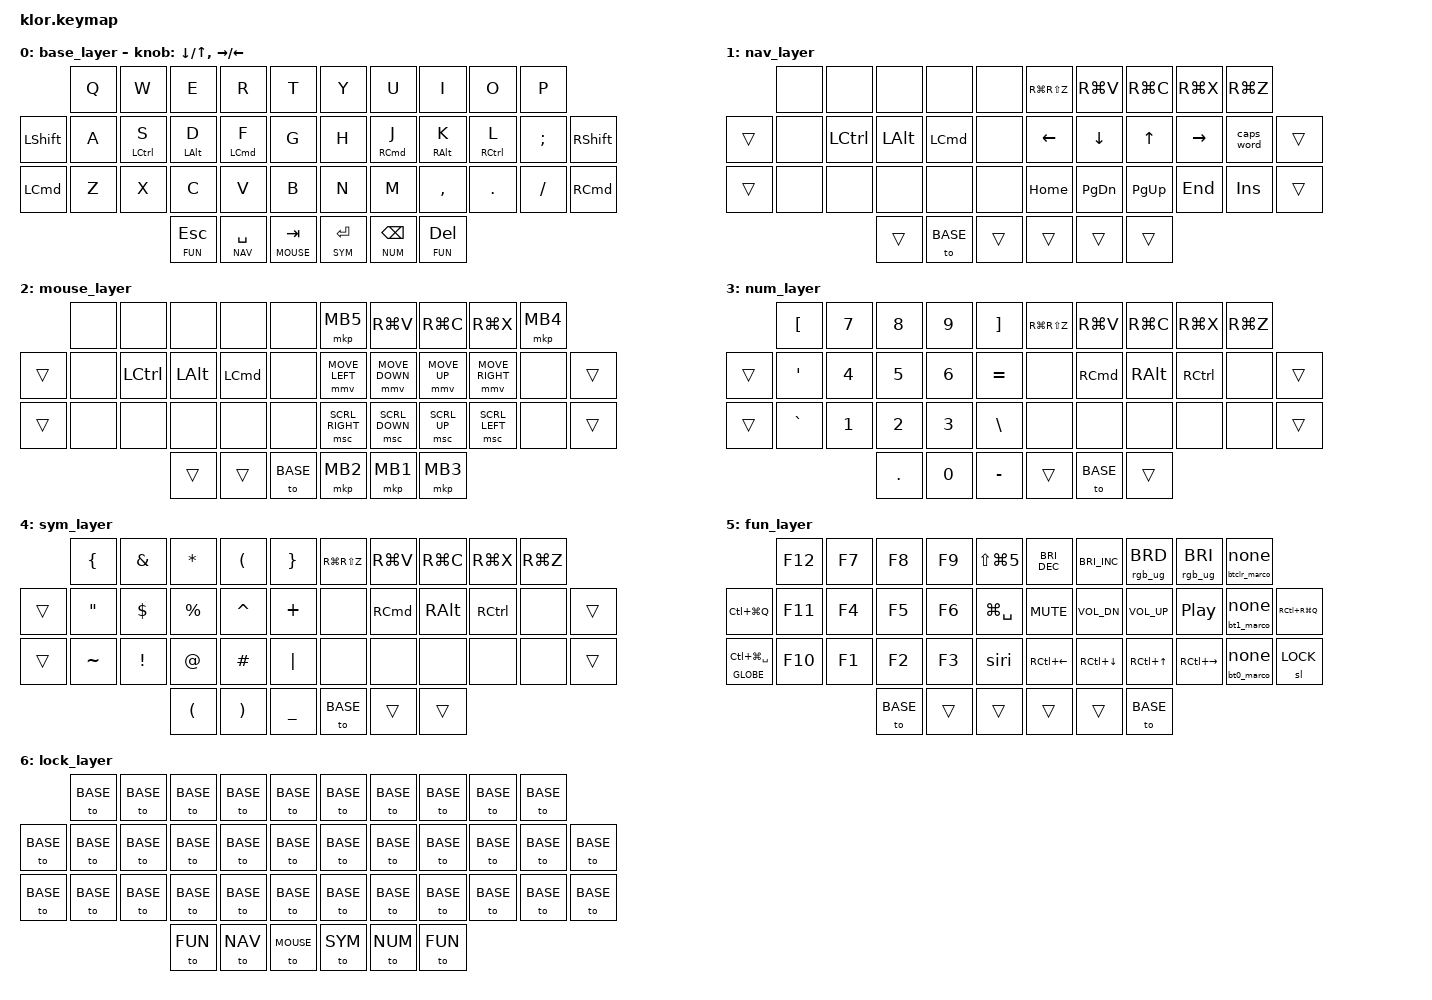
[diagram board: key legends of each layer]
#include <behaviors.dtsi>
#include <dt-bindings/zmk/keys.h>
#include <dt-bindings/zmk/rgb.h>
#include <dt-bindings/zmk/bt.h>
#include <dt-bindings/zmk/pointing.h>
#include "klor-key-labels.h"

#define BASE  0
#define NAV   1
#define MOUSE 2
#define NUM   3
#define SYM   4
#define FUN   5
#define LOCK  6

/ {
    behaviors {
        hml: home_row_mod_left {
            compatible = "zmk,behavior-hold-tap";
            #binding-cells = <2>;
            flavor = "balanced";
            require-prior-idle-ms = <150>;
            tapping-term-ms = <280>;
            quick-tap-ms = <175>;
            bindings = <&kp>, <&kp>;
            hold-trigger-key-positions = <KEYS_R THUMBS>;
            hold-trigger-on-release;
        };
        hmr: home_row_mod_right {
            compatible = "zmk,behavior-hold-tap";
            #binding-cells = <2>;
            flavor = "balanced";
            require-prior-idle-ms = <150>;
            tapping-term-ms = <280>;
            quick-tap-ms = <175>;
            bindings = <&kp>, <&kp>;
            hold-trigger-key-positions = <KEYS_L THUMBS>;
            hold-trigger-on-release;
        };
        btclrhold: bluetooth_clear_on_hold {
            compatible = "zmk,behavior-hold-tap";
            #binding-cells = <2>;
            tapping_term_ms = <1000>;
            flavor = "tap-preferred";
            bindings = <&btclr_marco>, <&none>;
        };
        bt0hold: bluetooth_profile_0_on_hold {
            compatible = "zmk,behavior-hold-tap";
            #binding-cells = <2>;
            tapping_term_ms = <1000>;
            flavor = "tap-preferred";
            bindings = <&bt0_marco>, <&none>;
        };
        bt1hold: bluetooth_profile_1_on_hold {
            compatible = "zmk,behavior-hold-tap";
            #binding-cells = <2>;
            tapping_term_ms = <1000>;
            flavor = "tap-preferred";
            bindings = <&bt1_marco>, <&none>;
        };
    };

    macros {
        siri: activate_siri {
            compatible = "zmk,behavior-macro";
            tap-ms = <1000>;
            #binding-cells = <0>;
            bindings = <&kp LG(SPACE)>;
        };
        btclr_marco: bluetooth_clear_marco {
            compatible = "zmk,behavior-macro";
            #binding-cells = <0>;
            bindings = <&bt BT_CLR_ALL>;
        };
        bt0_marco: bluetooth_profile_0_marco {
            compatible = "zmk,behavior-macro";
            #binding-cells = <0>;
            bindings = <&bt BT_SEL 0>;
        };
        bt1_marco: bluetooth_profile_1_marco {
            compatible = "zmk,behavior-macro";
            #binding-cells = <0>;
            bindings = <&bt BT_SEL 1>;
        };
    };

    keymap {
        compatible = "zmk,keymap";

        base_layer {
            bindings = <
//           ┌─────────┬─────────┬─────────┬─────────┬─────────┐    ┌─────────┬─────────┬─────────┬─────────┬─────────┐
              &kp Q     &kp W     &kp E     &kp R     &kp T          &kp Y     &kp U     &kp I     &kp O     &kp P
// ┌─────────┼─────────┼─────────┼─────────┼─────────┼─────────┤    ├─────────┼─────────┼─────────┼─────────┼─────────┼─────────┐
    &kp LSHFT &kp A &hml LCTRL S &hml LALT D &hml LCMD F &kp G    &kp H &hmr RCMD J &hmr RALT K &hmr RCTRL L &kp SEMI  &kp RSHFT
// ├─────────┼─────────┼─────────┼─────────┼─────────┼─────────┤    ├─────────┼─────────┼─────────┼─────────┼─────────┼─────────┤
    &kp LCMD  &kp Z     &kp X     &kp C     &kp V     &kp B          &kp N     &kp M     &kp COMMA &kp DOT   &kp FSLH  &kp RCMD
// └─────────┴─────────┴─────────┼─────────┼─────────┼─────────┤    ├─────────┼─────────┼─────────┼─────────┴─────────┴─────────┘
                        &lt FUN ESC &lt NAV SPACE &lt MOUSE TAB      &lt SYM RET &lt NUM BSPC &lt FUN DEL
//                               └─────────┴─────────┴─────────┘    └─────────┴─────────┴─────────┘
            >;

            sensor-bindings = <&inc_dec_kp DOWN UP &inc_dec_kp RIGHT LEFT>;
        };

        nav_layer {
            bindings = <
//           ┌─────────┬─────────┬─────────┬─────────┬─────────┐    ┌─────────┬─────────┬─────────┬─────────┬─────────┐
              &none     &none     &none     &none     &none      &kp RG(RS(Z)) &kp RG(V) &kp RG(C) &kp RG(X) &kp RG(Z)
// ┌─────────┼─────────┼─────────┼─────────┼─────────┼─────────┤    ├─────────┼─────────┼─────────┼─────────┼─────────┼─────────┐
    &trans    &none     &kp LCTRL &kp LALT  &kp LCMD  &none          &kp LEFT  &kp DOWN  &kp UP    &kp RIGHT &caps_word &trans
// ├─────────┼─────────┼─────────┼─────────┼─────────┼─────────┤    ├─────────┼─────────┼─────────┼─────────┼─────────┼─────────┤
    &trans    &none     &none     &none     &none     &none          &kp HOME  &kp PG_DN &kp PG_UP &kp END   &kp INS   &trans
// └─────────┴─────────┴─────────┼─────────┼─────────┼─────────┤    ├─────────┼─────────┼─────────┼─────────┴─────────┴─────────┘
                                  &trans    &to BASE  &trans         &trans    &trans    &trans
//                               └─────────┴─────────┴─────────┘    └─────────┴─────────┴─────────┘
            >;
        };

        mouse_layer {
            bindings = <
//           ┌─────────┬─────────┬─────────┬─────────┬─────────┐    ┌─────────┬─────────┬─────────┬─────────┬─────────┐
              &none     &none     &none     &none     &none          &mkp MB5  &kp RG(V) &kp RG(C) &kp RG(X) &mkp MB4
// ┌─────────┼─────────┼─────────┼─────────┼─────────┼─────────┤    ├─────────┼─────────┼─────────┼─────────┼─────────┼─────────┐
    &trans    &none     &kp LCTRL &kp LALT  &kp LCMD  &none &mmv MOVE_LEFT &mmv MOVE_DOWN &mmv MOVE_UP &mmv MOVE_RIGHT &none &trans
// ├─────────┼─────────┼─────────┼─────────┼─────────┼─────────┤    ├─────────┼─────────┼─────────┼─────────┼─────────┼─────────┤
    &trans    &none     &none     &none     &none     &none &msc SCRL_RIGHT &msc SCRL_DOWN &msc SCRL_UP &msc SCRL_LEFT &none &trans
// └─────────┴─────────┴─────────┼─────────┼─────────┼─────────┤    ├─────────┼─────────┼─────────┼─────────┴─────────┴─────────┘
                                  &trans    &trans    &to BASE       &mkp MB2  &mkp MB1  &mkp MB3
//                               └─────────┴─────────┴─────────┘    └─────────┴─────────┴─────────┘
            >;
        };

        num_layer {
            bindings = <
//           ┌─────────┬─────────┬─────────┬─────────┬─────────┐    ┌─────────┬─────────┬─────────┬─────────┬─────────┐
              &kp LBKT  &kp N7    &kp N8    &kp N9    &kp RBKT   &kp RG(RS(Z)) &kp RG(V) &kp RG(C) &kp RG(X) &kp RG(Z)
// ┌─────────┼─────────┼─────────┼─────────┼─────────┼─────────┤    ├─────────┼─────────┼─────────┼─────────┼─────────┼─────────┐
    &trans    &kp SQT   &kp N4    &kp N5    &kp N6    &kp EQUAL      &none     &kp RCMD  &kp RALT  &kp RCTRL &none     &trans
// ├─────────┼─────────┼─────────┼─────────┼─────────┼─────────┤    ├─────────┼─────────┼─────────┼─────────┼─────────┼─────────┤
    &trans    &kp GRAVE &kp N1    &kp N2    &kp N3    &kp BSLH       &none     &none     &none     &none     &none     &trans
// └─────────┴─────────┴─────────┼─────────┼─────────┼─────────┤    ├─────────┼─────────┼─────────┼─────────┴─────────┴─────────┘
                                  &kp DOT   &kp N0    &kp MINUS      &trans    &to BASE  &trans
//                               └─────────┴─────────┴─────────┘    └─────────┴─────────┴─────────┘
            >;
        };

        sym_layer {
            bindings = <
//           ┌─────────┬─────────┬─────────┬─────────┬─────────┐    ┌─────────┬─────────┬─────────┬─────────┬─────────┐
              &kp LBRC  &kp AMPS  &kp ASTRK &kp LPAR  &kp RBRC   &kp RG(RS(Z)) &kp RG(V) &kp RG(C) &kp RG(X) &kp RG(Z)
// ┌─────────┼─────────┼─────────┼─────────┼─────────┼─────────┤    ├─────────┼─────────┼─────────┼─────────┼─────────┼─────────┐
    &trans    &kp DQT   &kp DLLR  &kp PRCNT &kp CARET &kp PLUS       &none     &kp RCMD  &kp RALT  &kp RCTRL &none     &trans
// ├─────────┼─────────┼─────────┼─────────┼─────────┼─────────┤    ├─────────┼─────────┼─────────┼─────────┼─────────┼─────────┤
    &trans    &kp TILDE &kp EXCL  &kp AT    &kp HASH  &kp PIPE       &none     &none     &none     &none     &none     &trans
// └─────────┴─────────┴─────────┼─────────┼─────────┼─────────┤    ├─────────┼─────────┼─────────┼─────────┴─────────┴─────────┘
                                  &kp LPAR  &kp RPAR  &kp UNDER      &to BASE  &trans    &trans
//                               └─────────┴─────────┴─────────┘    └─────────┴─────────┴─────────┘
            >;
        };

        fun_layer {
            bindings = <
//              ┌────────────┬────────────┬────────────┬────────────┬────────────┐    ┌────────────┬────────────┬────────────┬────────────┬────────────┐
                 &kp F12      &kp F7       &kp F8       &kp F9       &kp LS(LG(N5))  &kp C_BRI_DEC &kp C_BRI_INC &rgb_ug RGB_BRD &rgb_ug RGB_BRI &btclrhold 0 0
// ┌────────────┼────────────┼────────────┼────────────┼────────────┼────────────┤    ├────────────┼────────────┼────────────┼────────────┼────────────┼────────────┐
    &kp LC(LG(Q)) &kp F11     &kp F4       &kp F5       &kp F6       &kp LG(SPACE)     &kp C_MUTE   &kp C_VOL_DN &kp C_VOL_UP &kp C_PP     &bt1hold 0 0 &kp RC(RG(Q))
// ├────────────┼────────────┼────────────┼────────────┼────────────┼────────────┤    ├────────────┼────────────┼────────────┼────────────┼────────────┼────────────┤
    &mt GLOBE LC(LG(SPACE)) &kp F10 &kp F1 &kp F2       &kp F3       &siri             &kp RC(LEFT) &kp RC(DOWN) &kp RC(UP)  &kp RC(RIGHT) &bt0hold 0 0 &sl LOCK
// └────────────┴────────────┴────────────┼────────────┼────────────┼────────────┤    ├────────────┼────────────┼────────────┼────────────┴────────────┴────────────┘
                                           &to BASE     &trans       &trans            &trans       &trans       &to BASE
//                                        └────────────┴────────────┴────────────┘    └────────────┴────────────┴────────────┘
            >;
        };

        lock_layer {
            bindings = <
//           ┌─────────┬─────────┬─────────┬─────────┬─────────┐    ┌─────────┬─────────┬─────────┬─────────┬─────────┐
              &to BASE  &to BASE  &to BASE  &to BASE  &to BASE       &to BASE  &to BASE  &to BASE  &to BASE  &to BASE
// ┌─────────┼─────────┼─────────┼─────────┼─────────┼─────────┤    ├─────────┼─────────┼─────────┼─────────┼─────────┼─────────┐
    &to BASE  &to BASE  &to BASE  &to BASE  &to BASE  &to BASE       &to BASE  &to BASE  &to BASE  &to BASE  &to BASE  &to BASE
// ├─────────┼─────────┼─────────┼─────────┼─────────┼─────────┤    ├─────────┼─────────┼─────────┼─────────┼─────────┼─────────┤
    &to BASE  &to BASE  &to BASE  &to BASE  &to BASE  &to BASE       &to BASE  &to BASE  &to BASE  &to BASE  &to BASE  &to BASE
// └─────────┴─────────┴─────────┼─────────┼─────────┼─────────┤    ├─────────┼─────────┼─────────┼─────────┴─────────┴─────────┘
                                  &to FUN   &to NAV   &to MOUSE      &to SYM   &to NUM   &to FUN
//                               └─────────┴─────────┴─────────┘    └─────────┴─────────┴─────────┘
            >;
        };
    };
 };
